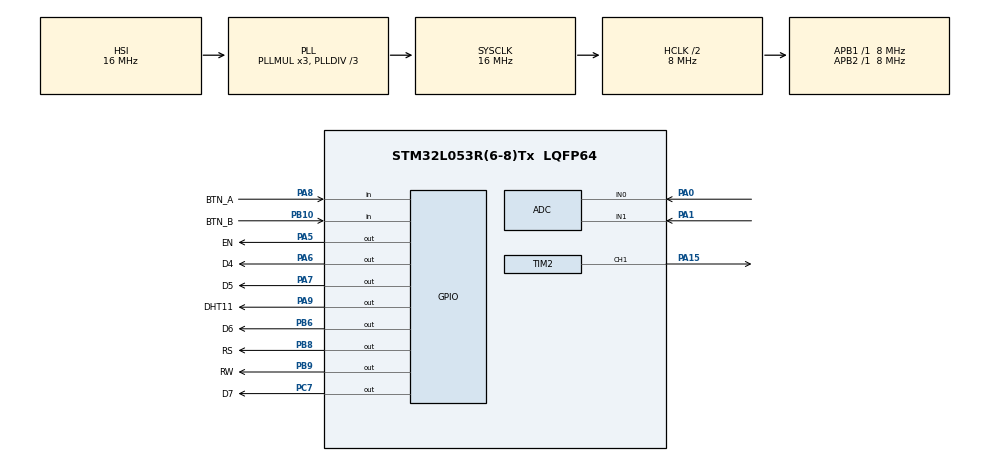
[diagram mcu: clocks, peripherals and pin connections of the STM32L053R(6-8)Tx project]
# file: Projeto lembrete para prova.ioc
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ADC.ContinuousConvMode=ENABLE
ADC.SamplingTime=ADC_SAMPLETIME_160CYCLES_5
Mcu.Family=STM32L0
Mcu.Name=STM32L053R(6-8)Tx
Mcu.Package=LQFP64
NVIC.TIM2_IRQn=true\:0\:0\:false\:false\:true\:true\:true\:true
PA0.Mode=IN0
PA0.Signal=ADC_IN0
PA1.Mode=IN1
PA1.Signal=ADC_IN1
PA15.Signal=S_TIM2_CH1
PA5.GPIO_Label=EN
PA5.Signal=GPIO_Output
PA6.GPIO_Label=D4
PA6.Signal=GPIO_Output
PA7.GPIO_Label=D5
PA7.Signal=GPIO_Output
PA8.GPIO_Label=BTN_A
PA8.GPIO_PuPd=GPIO_PULLUP
PA8.Signal=GPIO_Input
PA9.GPIO_Label=DHT11
PA9.GPIO_PuPd=GPIO_PULLUP
PA9.GPIO_Speed=GPIO_SPEED_FREQ_VERY_HIGH
PA9.Signal=GPIO_Output
PB10.GPIO_Label=BTN_B
PB10.GPIO_PuPd=GPIO_PULLUP
PB10.Signal=GPIO_Input
PB6.GPIO_Label=D6
PB6.Signal=GPIO_Output
PB8.GPIO_Label=RS
PB8.Signal=GPIO_Output
PB9.GPIO_Label=RW
PB9.Signal=GPIO_Output
PC7.GPIO_Label=D7
PC7.Signal=GPIO_Output
ProjectManager.HeapSize=0x200
ProjectManager.StackSize=0x400
ProjectManager.TargetToolchain=STM32CubeIDE
RCC.AHBCLKDivider=RCC_SYSCLK_DIV2
RCC.AHBFreq_Value=8000000
RCC.APB1Freq_Value=8000000
RCC.APB1TimFreq_Value=8000000
RCC.APB2Freq_Value=8000000
RCC.APB2TimFreq_Value=8000000
RCC.HCLKFreq_Value=8000000
RCC.HSE_VALUE=8000000
RCC.HSI16_VALUE=16000000
RCC.HSI48_VALUE=48000000
RCC.HSI_VALUE=16000000
RCC.MSI_VALUE=2097000
RCC.PLLDIV=RCC_PLLDIV_3
RCC.SYSCLKFreq_VALUE=16000000
RCC.SYSCLKSource=RCC_SYSCLKSOURCE_PLLCLK
RCC.VCOOutputFreq_Value=48000000
SH.S_TIM2_CH1.0=TIM2_CH1,PWM Generation1 CH1
TIM2.Channel-PWM\ Generation1\ CH1=TIM_CHANNEL_1
TIM2.Prescaler=8-1
TIM6.Prescaler=8-1
VP_TIM2_VS_ClockSourceINT.Mode=Internal
VP_TIM6_VS_ClockSourceINT.Mode=Enable_Timer
board=NUCLEO-L053R8

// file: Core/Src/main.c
/* USER CODE BEGIN Header */
/**
  ******************************************************************************
  * @file           : main.c
  * @brief          : Main program body
  ******************************************************************************
  * @attention
  *
  * Copyright (c) 2025 STMicroelectronics.
  * All rights reserved.
  *
  * This software is licensed under terms that can be found in the LICENSE file
  * in the root directory of this software component.
  * If no LICENSE file comes with this software, it is provided AS-IS.
  *
  ******************************************************************************
  */
/* USER CODE END Header */
#include "main.h"

/* USER CODE BEGIN Includes */
#include <string.h>
#include <stdio.h>
#include <stdlib.h>
/* USER CODE END Includes */

/* USER CODE BEGIN PTD */

typedef struct{
	unsigned P0: 1;
	unsigned P1: 1;
	unsigned P2: 1;
	unsigned P3: 1;
	unsigned P4: 1;
	unsigned P5: 1;
	unsigned P6: 1;
	unsigned P7: 1;
}BIT;

/* USER CODE END PTD */

/* USER CODE BEGIN PD */
#define DO  3793
#define RE  3405
#define MI  3007
#define FA  2863
#define SOL 2528
#define LA  2252
#define SI  2006

#define TIME_NOTE 100

#define INSTRUCTION 0
#define DATA 1

#define LIMIT 5
/* USER CODE END PD */

ADC_HandleTypeDef hadc;

TIM_HandleTypeDef htim2;
TIM_HandleTypeDef htim6;

/* USER CODE BEGIN PV */
BIT PORT;
uint32_t brefTime, atualTime, aux;
uint32_t axisX, axisY;

uint16_t bitsDHT[40] = {0};
uint16_t atualMenu = 0, temp, umid;
uint8_t  send = 0;

uint8_t ON = 1, OFF = 0;
uint8_t atualMode = 1;

char buffer[16];

/* USER CODE END PV */

void SystemClock_Config(void);
static void MX_GPIO_Init(void);
static void MX_ADC_Init(void);
static void MX_TIM2_Init(void);
static void MX_TIM6_Init(void);
/* USER CODE BEGIN PFP */
// BUZZER CONTROLER
void BUZ_Tone(uint32_t note);
void NOTE_Controler(uint32_t note);

// OCASIONAL SOUNDS
void BUZ_Start(void);
void BUZ_Altern_UP(void);
void BUZ_Altern_DOWN(void);
void BUZ_Transference(void);
void BUZ_Confirm(void);

// LCD CONTROLS
void StartLCD(void);
void Message(char * message);
void DataManager(uint16_t data, uint8_t state);

// CONTROL
void MenuManager(void);
int KeyboardCheck(GPIO_TypeDef *GPIOx, uint16_t GPIO_Pin);
void VerifyJoycon(void);

// UART
void StartDHT11(void);
void ReadDHT(void);
void SetPinMode(GPIO_TypeDef* port, uint16_t pin, uint32_t mode);

/* USER CODE END PFP */

int main(void)
{

  /* MCU Configuration--------------------------------------------------------*/

  /* Reset of all peripherals, Initializes the Flash interface and the Systick. */
  HAL_Init();

  /* Configure the system clock */
  SystemClock_Config();

  /* Initialize all configured peripherals */
  MX_GPIO_Init();
  MX_ADC_Init();
  MX_TIM2_Init();
  MX_TIM6_Init();
  /* USER CODE BEGIN 2 */
  HAL_TIM_Base_Start(&htim6);
  HAL_TIM_Base_Start_IT(&htim2);
  HAL_TIM_PWM_Start(&htim2, TIM_CHANNEL_1);

  StartLCD();
  BUZ_Start();
  /* USER CODE END 2 */
  /* Infinite loop */
  /* USER CODE BEGIN WHILE */
  while (1) {
	  VerifyJoycon();
	  MenuManager();

    /* USER CODE END WHILE */

  }
}

void SystemClock_Config(void)
{
  RCC_OscInitTypeDef RCC_OscInitStruct = {0};
  RCC_ClkInitTypeDef RCC_ClkInitStruct = {0};

  /** Configure the main internal regulator output voltage
  */
  __HAL_PWR_VOLTAGESCALING_CONFIG(PWR_REGULATOR_VOLTAGE_SCALE1);

  /** Initializes the RCC Oscillators according to the specified parameters
  * in the RCC_OscInitTypeDef structure.
  */
  RCC_OscInitStruct.OscillatorType = RCC_OSCILLATORTYPE_HSI;
  RCC_OscInitStruct.HSIState = RCC_HSI_ON;
  RCC_OscInitStruct.HSICalibrationValue = RCC_HSICALIBRATION_DEFAULT;
  RCC_OscInitStruct.PLL.PLLState = RCC_PLL_ON;
  RCC_OscInitStruct.PLL.PLLSource = RCC_PLLSOURCE_HSI;
  RCC_OscInitStruct.PLL.PLLMUL = RCC_PLLMUL_3;
  RCC_OscInitStruct.PLL.PLLDIV = RCC_PLLDIV_3;
  if (HAL_RCC_OscConfig(&RCC_OscInitStruct) != HAL_OK)
  {
    Error_Handler();
  }

  /** Initializes the CPU, AHB and APB buses clocks
  */
  RCC_ClkInitStruct.ClockType = RCC_CLOCKTYPE_HCLK|RCC_CLOCKTYPE_SYSCLK
                              |RCC_CLOCKTYPE_PCLK1|RCC_CLOCKTYPE_PCLK2;
  RCC_ClkInitStruct.SYSCLKSource = RCC_SYSCLKSOURCE_PLLCLK;
  RCC_ClkInitStruct.AHBCLKDivider = RCC_SYSCLK_DIV2;
  RCC_ClkInitStruct.APB1CLKDivider = RCC_HCLK_DIV1;
  RCC_ClkInitStruct.APB2CLKDivider = RCC_HCLK_DIV1;

  if (HAL_RCC_ClockConfig(&RCC_ClkInitStruct, FLASH_LATENCY_0) != HAL_OK)
  {
    Error_Handler();
  }
}

static void MX_ADC_Init(void)
{

  ADC_ChannelConfTypeDef sConfig = {0};

  /** Configure the global features of the ADC (Clock, Resolution, Data Alignment and number of conversion)
  */
  hadc.Instance = ADC1;
  hadc.Init.OversamplingMode = DISABLE;
  hadc.Init.ClockPrescaler = ADC_CLOCK_SYNC_PCLK_DIV2;
  hadc.Init.Resolution = ADC_RESOLUTION_12B;
  hadc.Init.SamplingTime = ADC_SAMPLETIME_160CYCLES_5;
  hadc.Init.ScanConvMode = ADC_SCAN_DIRECTION_FORWARD;
  hadc.Init.DataAlign = ADC_DATAALIGN_RIGHT;
  hadc.Init.ContinuousConvMode = ENABLE;
  hadc.Init.DiscontinuousConvMode = DISABLE;
  hadc.Init.ExternalTrigConvEdge = ADC_EXTERNALTRIGCONVEDGE_NONE;
  hadc.Init.ExternalTrigConv = ADC_SOFTWARE_START;
  hadc.Init.DMAContinuousRequests = DISABLE;
  hadc.Init.EOCSelection = ADC_EOC_SINGLE_CONV;
  hadc.Init.Overrun = ADC_OVR_DATA_PRESERVED;
  hadc.Init.LowPowerAutoWait = DISABLE;
  hadc.Init.LowPowerFrequencyMode = DISABLE;
  hadc.Init.LowPowerAutoPowerOff = DISABLE;
  if (HAL_ADC_Init(&hadc) != HAL_OK)
  {
    Error_Handler();
  }

  /** Configure for the selected ADC regular channel to be converted.
  */
  sConfig.Channel = ADC_CHANNEL_0;
  sConfig.Rank = ADC_RANK_CHANNEL_NUMBER;
  if (HAL_ADC_ConfigChannel(&hadc, &sConfig) != HAL_OK)
  {
    Error_Handler();
  }

  /** Configure for the selected ADC regular channel to be converted.
  */
  sConfig.Channel = ADC_CHANNEL_1;
  if (HAL_ADC_ConfigChannel(&hadc, &sConfig) != HAL_OK)
  {
    Error_Handler();
  }

}

static void MX_TIM2_Init(void)
{

  TIM_ClockConfigTypeDef sClockSourceConfig = {0};
  TIM_MasterConfigTypeDef sMasterConfig = {0};
  TIM_OC_InitTypeDef sConfigOC = {0};

  htim2.Instance = TIM2;
  htim2.Init.Prescaler = 8-1;
  htim2.Init.CounterMode = TIM_COUNTERMODE_UP;
  htim2.Init.Period = 65535;
  htim2.Init.ClockDivision = TIM_CLOCKDIVISION_DIV1;
  htim2.Init.AutoReloadPreload = TIM_AUTORELOAD_PRELOAD_DISABLE;
  if (HAL_TIM_Base_Init(&htim2) != HAL_OK)
  {
    Error_Handler();
  }
  sClockSourceConfig.ClockSource = TIM_CLOCKSOURCE_INTERNAL;
  if (HAL_TIM_ConfigClockSource(&htim2, &sClockSourceConfig) != HAL_OK)
  {
    Error_Handler();
  }
  if (HAL_TIM_PWM_Init(&htim2) != HAL_OK)
  {
    Error_Handler();
  }
  sMasterConfig.MasterOutputTrigger = TIM_TRGO_RESET;
  sMasterConfig.MasterSlaveMode = TIM_MASTERSLAVEMODE_DISABLE;
  if (HAL_TIMEx_MasterConfigSynchronization(&htim2, &sMasterConfig) != HAL_OK)
  {
    Error_Handler();
  }
  sConfigOC.OCMode = TIM_OCMODE_PWM1;
  sConfigOC.Pulse = 0;
  sConfigOC.OCPolarity = TIM_OCPOLARITY_HIGH;
  sConfigOC.OCFastMode = TIM_OCFAST_DISABLE;
  if (HAL_TIM_PWM_ConfigChannel(&htim2, &sConfigOC, TIM_CHANNEL_1) != HAL_OK)
  {
    Error_Handler();
  }
  HAL_TIM_MspPostInit(&htim2);

}

static void MX_TIM6_Init(void)
{

  TIM_MasterConfigTypeDef sMasterConfig = {0};

  htim6.Instance = TIM6;
  htim6.Init.Prescaler = 8-1;
  htim6.Init.CounterMode = TIM_COUNTERMODE_UP;
  htim6.Init.Period = 65535;
  htim6.Init.AutoReloadPreload = TIM_AUTORELOAD_PRELOAD_DISABLE;
  if (HAL_TIM_Base_Init(&htim6) != HAL_OK)
  {
    Error_Handler();
  }
  sMasterConfig.MasterOutputTrigger = TIM_TRGO_RESET;
  sMasterConfig.MasterSlaveMode = TIM_MASTERSLAVEMODE_DISABLE;
  if (HAL_TIMEx_MasterConfigSynchronization(&htim6, &sMasterConfig) != HAL_OK)
  {
    Error_Handler();
  }

}

static void MX_GPIO_Init(void)
{
  GPIO_InitTypeDef GPIO_InitStruct = {0};

  /* GPIO Ports Clock Enable */
  __HAL_RCC_GPIOA_CLK_ENABLE();
  __HAL_RCC_GPIOB_CLK_ENABLE();
  __HAL_RCC_GPIOC_CLK_ENABLE();

  /*Configure GPIO pin Output Level */
  HAL_GPIO_WritePin(GPIOA, EN_Pin|D4_Pin|D5_Pin|DHT11_Pin, GPIO_PIN_RESET);

  /*Configure GPIO pin Output Level */
  HAL_GPIO_WritePin(D7_GPIO_Port, D7_Pin, GPIO_PIN_RESET);

  /*Configure GPIO pin Output Level */
  HAL_GPIO_WritePin(GPIOB, D6_Pin|RS_Pin|RW_Pin, GPIO_PIN_RESET);

  /*Configure GPIO pins : EN_Pin D4_Pin D5_Pin */
  GPIO_InitStruct.Pin = EN_Pin|D4_Pin|D5_Pin;
  GPIO_InitStruct.Mode = GPIO_MODE_OUTPUT_PP;
  GPIO_InitStruct.Pull = GPIO_NOPULL;
  GPIO_InitStruct.Speed = GPIO_SPEED_FREQ_LOW;
  HAL_GPIO_Init(GPIOA, &GPIO_InitStruct);

  /*Configure GPIO pin : BTN_B_Pin */
  GPIO_InitStruct.Pin = BTN_B_Pin;
  GPIO_InitStruct.Mode = GPIO_MODE_INPUT;
  GPIO_InitStruct.Pull = GPIO_PULLUP;
  HAL_GPIO_Init(BTN_B_GPIO_Port, &GPIO_InitStruct);

  /*Configure GPIO pin : D7_Pin */
  GPIO_InitStruct.Pin = D7_Pin;
  GPIO_InitStruct.Mode = GPIO_MODE_OUTPUT_PP;
  GPIO_InitStruct.Pull = GPIO_NOPULL;
  GPIO_InitStruct.Speed = GPIO_SPEED_FREQ_LOW;
  HAL_GPIO_Init(D7_GPIO_Port, &GPIO_InitStruct);

  /*Configure GPIO pin : BTN_A_Pin */
  GPIO_InitStruct.Pin = BTN_A_Pin;
  GPIO_InitStruct.Mode = GPIO_MODE_INPUT;
  GPIO_InitStruct.Pull = GPIO_PULLUP;
  HAL_GPIO_Init(BTN_A_GPIO_Port, &GPIO_InitStruct);

  /*Configure GPIO pin : DHT11_Pin */
  GPIO_InitStruct.Pin = DHT11_Pin;
  GPIO_InitStruct.Mode = GPIO_MODE_OUTPUT_PP;
  GPIO_InitStruct.Pull = GPIO_PULLUP;
  GPIO_InitStruct.Speed = GPIO_SPEED_FREQ_VERY_HIGH;
  HAL_GPIO_Init(DHT11_GPIO_Port, &GPIO_InitStruct);

  /*Configure GPIO pins : D6_Pin RS_Pin RW_Pin */
  GPIO_InitStruct.Pin = D6_Pin|RS_Pin|RW_Pin;
  GPIO_InitStruct.Mode = GPIO_MODE_OUTPUT_PP;
  GPIO_InitStruct.Pull = GPIO_NOPULL;
  GPIO_InitStruct.Speed = GPIO_SPEED_FREQ_LOW;
  HAL_GPIO_Init(GPIOB, &GPIO_InitStruct);

}

/* USER CODE BEGIN 4 */

// BUZZER MANIPULATIONS
void NOTE_Controler(uint32_t note){
	uint16_t dc = note / 2;
	TIM2-> CCR1 = dc;
	TIM2-> ARR  = note;
}
void BUZ_Tone(uint32_t note){
	NOTE_Controler(note);
	HAL_Delay(TIME_NOTE);
	NOTE_Controler(10);
}
void BUZ_Altern_UP(void){
	BUZ_Tone(DO);
	BUZ_Tone(RE);
	BUZ_Tone(FA);
}
void BUZ_Altern_DOWN(void){
	BUZ_Tone(FA);
	BUZ_Tone(RE);
	BUZ_Tone(DO);
}
void BUZ_Start(void){
	BUZ_Tone(SI);
	BUZ_Tone(SI);

	BUZ_Tone(RE);
	BUZ_Tone(RE);

	BUZ_Tone(LA);
	BUZ_Tone(LA);

	BUZ_Tone(MI);
	BUZ_Tone(MI);
}
void BUZ_Confirm(void){
	BUZ_Tone(LA);
	BUZ_Tone(SI);
	BUZ_Tone(SOL);
	BUZ_Tone(LA);
	BUZ_Tone(SI);
	BUZ_Tone(SOL);
}
void BUZ_Transference(void){
	BUZ_Tone(DO);
	BUZ_Tone(MI);
	BUZ_Tone(SOL);

	BUZ_Tone(DO);
	BUZ_Tone(MI);
	BUZ_Tone(SOL);

	BUZ_Tone(DO);
	BUZ_Tone(DO);
	BUZ_Tone(DO);

}

// LCD CONTROLER
void StartLCD(void){
	HAL_Delay(20);
	DataManager(0x33, INSTRUCTION);
	DataManager(0x32, INSTRUCTION);

	DataManager(0x28, INSTRUCTION);

	DataManager(0x0C, INSTRUCTION);
	DataManager(0x06, INSTRUCTION);
	DataManager(0x01, INSTRUCTION);
	HAL_Delay(10);
}
void DataManager(uint16_t data, uint8_t state){
	PORT.P0 = (data >> 0) & 1;
	PORT.P1 = (data >> 1) & 1;
	PORT.P2 = (data >> 2) & 1;
	PORT.P3 = (data >> 3) & 1;
	PORT.P4 = (data >> 4) & 1;
	PORT.P5 = (data >> 5) & 1;
	PORT.P6 = (data >> 6) & 1;
	PORT.P7 = (data >> 7) & 1;

	HAL_GPIO_WritePin(RS_GPIO_Port, RS_Pin, state);
	HAL_GPIO_WritePin(RW_GPIO_Port, RW_Pin, GPIO_PIN_RESET);

	HAL_GPIO_WritePin(D4_GPIO_Port, D4_Pin, PORT.P4);
	HAL_GPIO_WritePin(D5_GPIO_Port, D5_Pin, PORT.P5);
	HAL_GPIO_WritePin(D6_GPIO_Port, D6_Pin, PORT.P6);
	HAL_GPIO_WritePin(D7_GPIO_Port, D7_Pin, PORT.P7);

    HAL_Delay(1);
    HAL_GPIO_WritePin(EN_GPIO_Port, EN_Pin, GPIO_PIN_SET);
    HAL_Delay(1);
    HAL_GPIO_WritePin(EN_GPIO_Port, EN_Pin, GPIO_PIN_RESET);

	HAL_GPIO_WritePin(D4_GPIO_Port, D4_Pin, PORT.P0);
	HAL_GPIO_WritePin(D5_GPIO_Port, D5_Pin, PORT.P1);
	HAL_GPIO_WritePin(D6_GPIO_Port, D6_Pin, PORT.P2);
	HAL_GPIO_WritePin(D7_GPIO_Port, D7_Pin, PORT.P3);

    HAL_Delay(1);
    HAL_GPIO_WritePin(EN_GPIO_Port, EN_Pin, GPIO_PIN_SET);
    HAL_Delay(1);
    HAL_GPIO_WritePin(EN_GPIO_Port, EN_Pin, GPIO_PIN_RESET);
}
void Message(char * message){
	for(int i = 0; message[i] != '\0'; ++i){
		DataManager(message[i], DATA);
	}
}

// MENU SYSTEM
int KeyboardCheck(GPIO_TypeDef *GPIOx, uint16_t GPIO_Pin){
	uint16_t press = HAL_GPIO_ReadPin(GPIOx, GPIO_Pin);
	uint8_t response = 0;

	if (!press){
		atualTime = HAL_GetTick();
		if ((atualTime - brefTime) > 10){
			response = 1;
		}
		brefTime = atualTime;
	}

	return response;
}
void MenuManager(void){
	uint16_t btn_bref    = KeyboardCheck(BTN_A_GPIO_Port, BTN_A_Pin),
			 btn_after   = KeyboardCheck(BTN_B_GPIO_Port, BTN_B_Pin);

	if (btn_bref) {
		BUZ_Altern_DOWN();
		atualMenu--;
	}
	else if (btn_after){
		BUZ_Altern_UP();
		atualMenu++;
	}

	if (atualMenu >= LIMIT) atualMenu = 0;
	else if (atualMenu == 0) atualMenu  = LIMIT;

	switch(atualMenu){
		case 0:
			Message("  SELETIVA  WS  ");
			DataManager(0xC0, INSTRUCTION);
			Message(" #16  DANIEL-DF  ");
			DataManager(0x80, INSTRUCTION);
			send = 0;
			break;

		case 1:
			Message("LEITOR  JOYSTICK");
			DataManager(0xC0, INSTRUCTION);
			sprintf(buffer, "X: %lu Y: %lu   ", axisX, axisY);
			Message(buffer);
			DataManager(0x80, INSTRUCTION);
			send = 0;
			break;

		case 2:
			Message("   TEMPERATURA   ");
			DataManager(0xC0, INSTRUCTION);
			sprintf(buffer, "C %%:");
			Message(buffer);
			DataManager(0x80, INSTRUCTION);
			break;

		case 3:
			Message(" DESEJA ENVIAR? ");
			DataManager(0xC0, INSTRUCTION);
			Message("B1:Sair B2:Envio");
			DataManager(0x80, INSTRUCTION);
			send = 1;
			break;

		case 4:
			BUZ_Confirm();
			Message("ENVIO REALIZADO");
			DataManager(0xC0, INSTRUCTION);
			Message("  COM SUCESSO!  ");
			DataManager(0x80, INSTRUCTION);
			HAL_Delay(1000);
			atualMenu = 0;
			send = 0;
			break;
	}
}
void VerifyJoycon(void){
	HAL_ADC_Start(&hadc);
		for (int i = 0; i < 3; ++i){
			HAL_ADC_PollForConversion(&hadc, 100);
			if (i == 0) axisY = HAL_ADC_GetValue(&hadc);
			else if (i == 1) axisX = HAL_ADC_GetValue(&hadc);
		}
	HAL_ADC_Stop(&hadc);
}

// DHT11
void StartDHT11(void){
	SetPinMode(DHT11_GPIO_Port, DHT11_Pin, GPIO_MODE_OUTPUT_PP);
	HAL_GPIO_WritePin(DHT11_GPIO_Port, DHT11_Pin, GPIO_PIN_RESET);
	HAL_Delay(20);
	HAL_GPIO_WritePin(DHT11_GPIO_Port, DHT11_Pin, GPIO_PIN_SET);
	HAL_Delay(1);
	SetPinMode(DHT11_GPIO_Port, DHT11_Pin, GPIO_MODE_INPUT);
}
void SetPinMode(GPIO_TypeDef* port, uint16_t pin, uint32_t mode){
	GPIO_InitTypeDef GPIO_InitStruct = {0};
	GPIO_InitStruct.Pin = pin;
	GPIO_InitStruct.Mode = mode;
	GPIO_InitStruct.Pull = GPIO_NOPULL;
	GPIO_InitStruct.Speed = GPIO_SPEED_FREQ_VERY_HIGH;
	HAL_GPIO_Init(port, &GPIO_InitStruct);
}
void ReadDHT(void){
	uint16_t read[2], data[42];

	while(HAL_GPIO_ReadPin(DHT11_GPIO_Port, DHT11_Pin));
	while(!HAL_GPIO_ReadPin(DHT11_GPIO_Port, DHT11_Pin));

	__HAL_TIM_SET_COUNTER(&htim6, 0);

	for (int i = 0; i < 42; ++i) {
		while(!HAL_GPIO_ReadPin(DHT11_GPIO_Port, DHT11_Pin));
		read[0] = __HAL_TIM_GET_COUNTER(&htim6);

		while(HAL_GPIO_ReadPin(DHT11_GPIO_Port, DHT11_Pin));
		read[1] = __HAL_TIM_GET_COUNTER(&htim6);

		data[i] = read[1] - read[0];
	}

	for (int i = 0; i < 40; ++i){
		if ((data[i + 2] >= 20) && (data[i] <= 32)) bitsDHT[i] = 0;
		else if ((data[i] >= 65) && (data[i] <= 75)) bitsDHT[i] = 1;
	}

	for (int i = 0; i < 8; ++i){
		temp += bitsDHT[i + 16] << (7 - i);
		umid += bitsDHT[i] << (7 - i);
	}
}

/* USER CODE END 4 */

void Error_Handler(void)
{
  __disable_irq();
  while (1)
  {
  }
}
